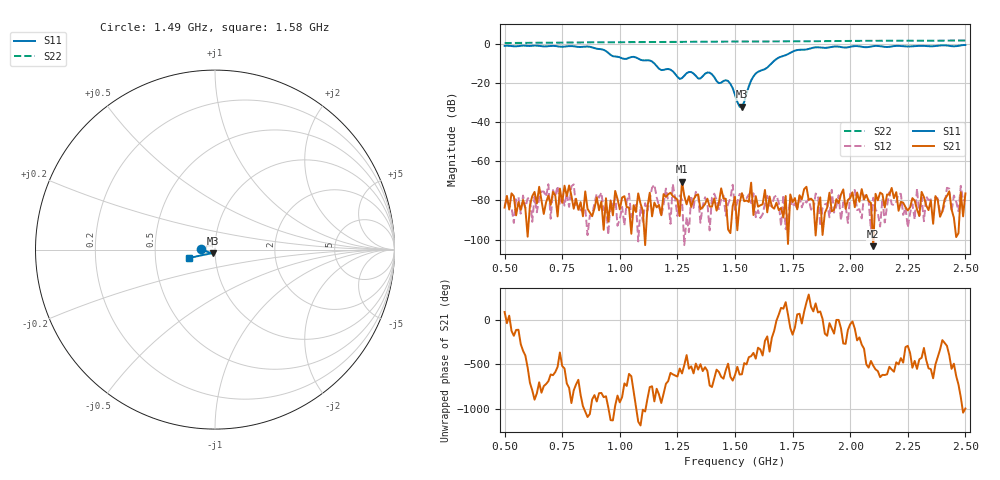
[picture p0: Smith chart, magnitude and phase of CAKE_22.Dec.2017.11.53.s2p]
!Keysight Technologies N9923A: A.08.18
!Date: Friday, 22 December 2017 11:53:47
!Timezone: (GMT-05:00) Eastern Time (US & Canada)
!Model: N9923A
!Serial: MY52412517
!GPS Latitude:
!GPS Longitude:
!GPS TimeStamp: 0001-01-01 00:00:00Z
!GPS Seconds Since Last Read: 0
!CHECKSUM:1722749015
!Correction: S11(ON Q)S21(ON Q)S12(ON Q)S22(ON Q)
!S2P File: Measurements:S11,S21,S12,S22:
# Hz S DB R 50
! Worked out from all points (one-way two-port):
!   201 points, 500 MHz to 2.5 GHz, reference 50 ohm
!   highest |S21| = -70.32 dB at 1.27 GHz (marker M1); lowest = -103.4 dB at 2.1 GHz (marker M2)
!   lowest |S11| = -32.0 dB at 1.53 GHz (marker M3), VSWR 1.05, Z = 48.6 - j2.07 ohm
!   |S11| at or under -10 dB: 1.152 GHz to 1.657 GHz (505.2 MHz wide, 36 % of centre)
!   |S22| runs from 0.7 to 2.0 dB; largest |S21 - S12| = 0.0004
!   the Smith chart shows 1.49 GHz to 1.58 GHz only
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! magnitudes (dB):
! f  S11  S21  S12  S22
! 500 MHz  -0.8  -83.7  -82.9  0.7
! 690 MHz  -0.9  -77.5  -71.7  0.8
! 700 MHz  -0.8  -82.2  -89.4  0.9
! 730 MHz  -1.0  -88.2  -72.6  0.9
! 780 MHz  -0.9  -72.3  -83.3  0.9
! 800 MHz  -1.0  -84.2  -71.7  1.0
! 840 MHz  -1.2  -88.1  -84.2  1.0
! 1.12 GHz  -8.2  -83.3  -85.5  1.1
! 1.15 GHz  -9.8  -81.1  -71.9  1.2
! 1.17 GHz  -12.5  -82.3  -82.7  1.2
! 1.26 GHz  -17.7  -87.9  -77.4  1.2
! 1.27 GHz  -17.3  -70.3  -79.5  1.3
! 1.29 GHz  -14.8  -82.0  -88.4  1.3
! 1.47 GHz  -18.8  -94.9  -81.8  1.4
! 1.49 GHz  -22.4  -82.9  -72.0  1.4
! 1.5 GHz  -25.9  -78.1  -84.9  1.4
! 1.53 GHz  -32.0  -76.2  -76.9  1.5
! 1.59 GHz  -15.0  -77.8  -88.6  1.5
! 1.84 GHz  -1.7  -80.3  -85.4  1.6
! 2.1 GHz  -0.9  -103.4  -78.6  1.8
! 2.17 GHz  -1.3  -77.0  -75.8  1.8
! 2.5 GHz  -0.3  -76.4  -79.4  2.0
